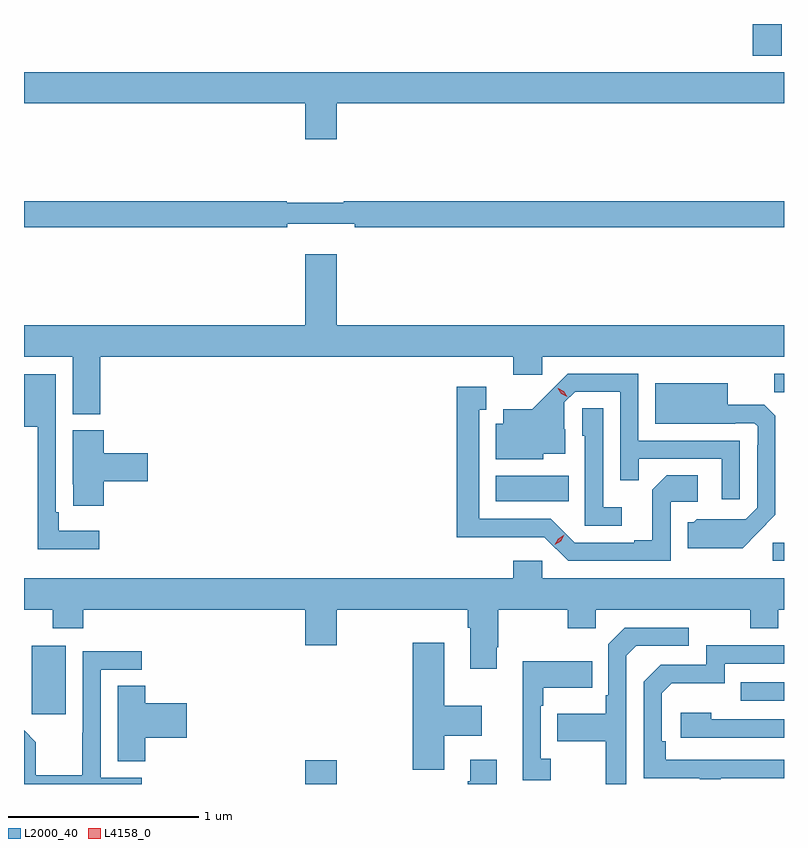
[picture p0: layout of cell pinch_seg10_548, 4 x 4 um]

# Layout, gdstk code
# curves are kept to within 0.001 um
import gdstk
lib = gdstk.Library(unit=1e-6, precision=1e-09)
def R(c, l, rs):  # rectangles x0, y0, x1, y1
    for r in rs: c.add(gdstk.rectangle(r[:2], r[2:], *l))
def P(c, l, *ps):  # polygons
    for p in ps: c.add(gdstk.Polygon(p, *l))
L2000_40 = (2000, 40)
L4158_0 = (4158, 0)

pinch_seg10_548 = lib.new_cell('pinch_seg10_548')
R(pinch_seg10_548, L2000_40, [(332.84,1284.746,333.004,1284.871), (331.4,1285.113,331.579,1285.474), (335.131,1285.185,335.359,1285.281), (335.301,1285.92,335.359,1286.016), (333.842,1286.234,334.226,1286.368), (335.308,1286.809,335.359,1286.904), (335.195,1288.578,335.347,1288.746)])
P(pinch_seg10_548, L2000_40, [(333.004,1288.328),(335.359,1288.328),(335.359,1288.492),(331.359,1288.492),(331.359,1288.328),(332.84,1288.328),(332.84,1288.14),(333.004,1288.14)],
  [(332.744,1287.695),(333.1,1287.695),(333.1,1287.676),(335.359,1287.676),(335.359,1287.812),(333.043,1287.812),(333.043,1287.805),(332.743,1287.805),(332.743,1287.812),(331.359,1287.812),(331.359,1287.676),(332.744,1287.676)],
  [(331.76,1286.996),(333.935,1286.996),(333.935,1286.901),(334.086,1286.901),(334.086,1286.996),(335.359,1286.996),(335.359,1287.16),(333.004,1287.16),(333.004,1287.535),(332.84,1287.535),(332.84,1287.16),(331.359,1287.16),(331.359,1286.996),(331.616,1286.996),(331.616,1286.692),(331.76,1286.692)],
  [(335.127,1286.553),(334.593,1286.553),(334.593,1286.904),(334.22,1286.904),(334.033,1286.719),(333.881,1286.719),(333.881,1286.641),(333.842,1286.641),(333.842,1286.456),(334.092,1286.456),(334.092,1286.483),(334.207,1286.483),(334.207,1286.612),(334.203,1286.612),(334.203,1286.754),(334.26,1286.811),(334.497,1286.811),(334.497,1286.344),(334.595,1286.344),(334.595,1286.457),(335.031,1286.457),(335.031,1286.244),(335.127,1286.244)],
  [(331.756,1286.08),(331.543,1286.08),(331.543,1286.176),(331.527,1286.176),(331.527,1286.902),(331.359,1286.902),(331.359,1286.625),(331.431,1286.625),(331.431,1285.982),(331.756,1285.982)],
  [(335.221,1286.069),(335.313,1286.162),(335.313,1286.684),(335.254,1286.743),(335.062,1286.743),(335.062,1286.854),(334.682,1286.854),(334.682,1286.642),(335.102,1286.642),(335.102,1286.646),(335.202,1286.646),(335.22,1286.628),(335.22,1286.528),(335.217,1286.528),(335.217,1286.199),(335.157,1286.139),(334.9,1286.14),(334.884,1286.124),(334.853,1286.124),(334.853,1285.988),(335.141,1285.988)],
  [(334.764,1286.232),(334.906,1286.232),(334.906,1286.372),(334.741,1286.372),(334.665,1286.296),(334.665,1286.029),(334.571,1286.029),(334.571,1286.016),(334.257,1286.016),(334.131,1286.142),(333.754,1286.142),(333.754,1286.715),(333.793,1286.715),(333.793,1286.836),(333.636,1286.836),(333.636,1286.045),(334.098,1286.046),(334.224,1285.92),(334.764,1285.92)],
  [(334.504,1286.203),(334.407,1286.203),(334.407,1286.723),(334.296,1286.723),(334.296,1286.58),(334.311,1286.58),(334.311,1286.106),(334.504,1286.106)],
  [(331.778,1286.339),(332.011,1286.339),(332.011,1286.486),(331.778,1286.486),(331.778,1286.607),(331.616,1286.607),(331.616,1286.323),(331.617,1286.323),(331.617,1286.211),(331.778,1286.211)],
  [(333.847,1285.465),(333.855,1285.465),(333.855,1285.664),(334.222,1285.664),(334.222,1285.565),(334.368,1285.565),(334.368,1285.664),(335.182,1285.664),(335.182,1285.565),(335.329,1285.565),(335.329,1285.664),(335.359,1285.664),(335.359,1285.828),(334.086,1285.828),(334.086,1285.921),(333.935,1285.921),(333.935,1285.828),(331.359,1285.828),(331.359,1285.664),(331.51,1285.664),(331.51,1285.565),(331.67,1285.565),(331.67,1285.664),(332.84,1285.664),(332.84,1285.476),(333.004,1285.476),(333.004,1285.664),(333.695,1285.664),(333.695,1285.568),(333.707,1285.568),(333.707,1285.353),(333.847,1285.353)],
  [(334.53,1285.422),(334.581,1285.473),(334.858,1285.473),(334.858,1285.569),(334.521,1285.569),(334.434,1285.482),(334.434,1285.213),(334.422,1285.213),(334.422,1285.117),(334.165,1285.117),(334.165,1284.97),(334.422,1284.97),(334.422,1284.746),(334.53,1284.746)],
  [(333.571,1285.001),(333.769,1285.001),(333.769,1285.159),(333.571,1285.159),(333.571,1285.489),(333.404,1285.489),(333.404,1284.822),(333.571,1284.822)],
  [(335.027,1284.777),(335.359,1284.777),(335.359,1284.873),(334.736,1284.873),(334.736,1284.97),(334.716,1284.97),(334.716,1285.224),(334.769,1285.277),(335.046,1285.277),(335.046,1285.38),(335.359,1285.38),(335.359,1285.476),(334.95,1285.476),(334.95,1285.374),(334.71,1285.374),(334.62,1285.284),(334.62,1284.777),(334.915,1284.777),(334.915,1284.772),(335.027,1284.772)],
  [(331.978,1284.78),(331.764,1284.78),(331.764,1285.347),(331.978,1285.347),(331.978,1285.446),(331.668,1285.446),(331.668,1285.016),(331.666,1285.016),(331.666,1284.793),(331.421,1284.793),(331.421,1284.967),(331.359,1285.029),(331.359,1284.746),(331.978,1284.746)],
  [(334.132,1284.878),(334.08,1284.878),(334.08,1285.157),(334.093,1285.157),(334.093,1285.253),(334.349,1285.253),(334.349,1285.393),(333.983,1285.393),(333.983,1284.765),(334.132,1284.765)],
  [(331.997,1284.989),(332.215,1284.989),(332.215,1285.172),(331.997,1285.172),(331.997,1285.262),(331.853,1285.262),(331.853,1284.865),(331.997,1284.865)],
  [(335.359,1285.086),(334.976,1285.086),(334.976,1285.12),(334.815,1285.12),(334.815,1284.99),(335.359,1284.99)],
  [(333.847,1284.874),(333.707,1284.874),(333.707,1284.761),(333.695,1284.761),(333.695,1284.746),(333.847,1284.746)])
P(pinch_seg10_548, L4158_0, [(334.217,1286.784),(334.186,1286.8),(334.169,1286.83),(334.169,1286.83),(334.17,1286.83),(334.2,1286.814),(334.217,1286.785),(334.217,1286.784)],
  [(334.153,1286.005),(334.153,1286.006),(334.171,1286.038),(334.203,1286.057),(334.203,1286.057),(334.203,1286.057),(334.185,1286.024),(334.153,1286.005)])

lib.write_gds('pinch_seg10_548.gds')
